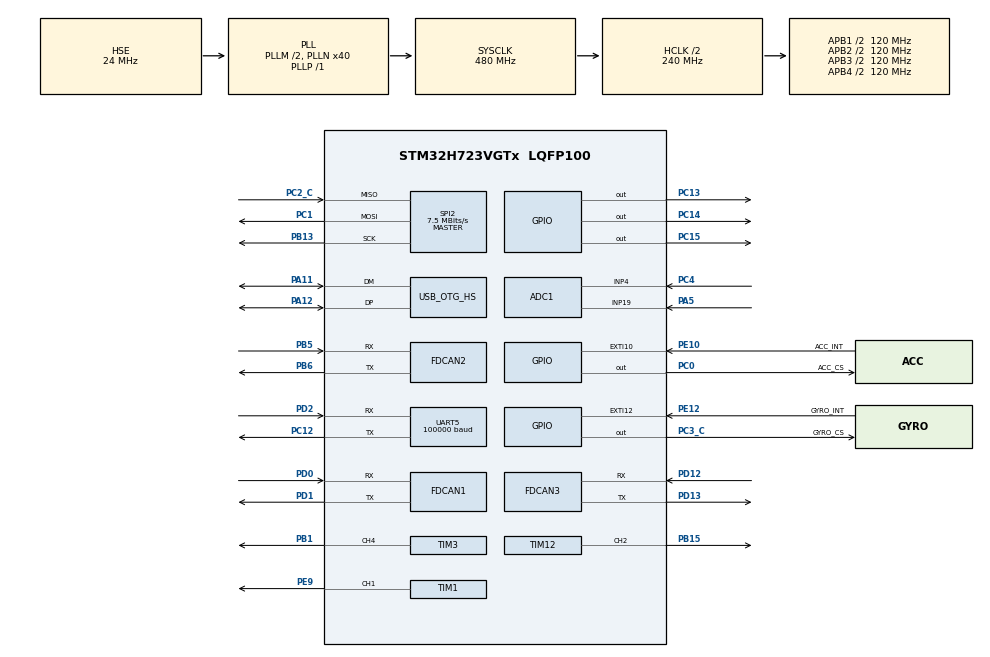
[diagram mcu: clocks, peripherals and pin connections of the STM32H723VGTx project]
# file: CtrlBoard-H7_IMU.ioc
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ADC1.Channel-0\#ChannelRegularConversion=ADC_CHANNEL_4
ADC1.Channel-1\#ChannelRegularConversion=ADC_CHANNEL_19
ADC1.ClockPrescaler=ADC_CLOCK_ASYNC_DIV64
ADC1.ContinuousConvMode=ENABLE
ADC1.ConversionDataManagement=ADC_CONVERSIONDATA_DMA_CIRCULAR
ADC1.NbrOfConversion=2
ADC1.NbrOfConversionFlag=1
ADC1.OffsetNumber-0\#ChannelRegularConversion=ADC_OFFSET_NONE
ADC1.OffsetNumber-1\#ChannelRegularConversion=ADC_OFFSET_NONE
ADC1.OffsetSignedSaturation-0\#ChannelRegularConversion=DISABLE
ADC1.OffsetSignedSaturation-1\#ChannelRegularConversion=DISABLE
ADC1.Rank-0\#ChannelRegularConversion=1
ADC1.Rank-1\#ChannelRegularConversion=2
ADC1.SamplingTime-0\#ChannelRegularConversion=ADC_SAMPLETIME_32CYCLES_5
ADC1.SamplingTime-1\#ChannelRegularConversion=ADC_SAMPLETIME_32CYCLES_5
ADC1.master=1
Dma.ADC1.3.Direction=DMA_PERIPH_TO_MEMORY
Dma.ADC1.3.EventEnable=DISABLE
Dma.ADC1.3.FIFOMode=DMA_FIFOMODE_DISABLE
Dma.ADC1.3.Instance=DMA1_Stream3
Dma.ADC1.3.MemDataAlignment=DMA_MDATAALIGN_HALFWORD
Dma.ADC1.3.MemInc=DMA_MINC_ENABLE
Dma.ADC1.3.Mode=DMA_CIRCULAR
Dma.ADC1.3.PeriphDataAlignment=DMA_PDATAALIGN_HALFWORD
Dma.ADC1.3.PeriphInc=DMA_PINC_DISABLE
Dma.ADC1.3.Polarity=HAL_DMAMUX_REQ_GEN_RISING
Dma.ADC1.3.Priority=DMA_PRIORITY_LOW
Dma.ADC1.3.RequestNumber=1
Dma.ADC1.3.SignalID=NONE
Dma.ADC1.3.SyncEnable=DISABLE
Dma.ADC1.3.SyncPolarity=HAL_DMAMUX_SYNC_NO_EVENT
Dma.ADC1.3.SyncRequestNumber=1
Dma.ADC1.3.SyncSignalID=NONE
Dma.Request0=SPI2_RX
Dma.Request1=SPI2_TX
Dma.Request2=UART5_RX
Dma.Request3=ADC1
Dma.Request4=TIM1_CH1
Dma.SPI2_RX.0.Direction=DMA_PERIPH_TO_MEMORY
Dma.SPI2_RX.0.EventEnable=DISABLE
Dma.SPI2_RX.0.FIFOMode=DMA_FIFOMODE_DISABLE
Dma.SPI2_RX.0.Instance=DMA1_Stream0
Dma.SPI2_RX.0.MemDataAlignment=DMA_MDATAALIGN_BYTE
Dma.SPI2_RX.0.MemInc=DMA_MINC_ENABLE
Dma.SPI2_RX.0.Mode=DMA_NORMAL
Dma.SPI2_RX.0.PeriphDataAlignment=DMA_PDATAALIGN_BYTE
Dma.SPI2_RX.0.PeriphInc=DMA_PINC_DISABLE
Dma.SPI2_RX.0.Polarity=HAL_DMAMUX_REQ_GEN_RISING
Dma.SPI2_RX.0.Priority=DMA_PRIORITY_VERY_HIGH
Dma.SPI2_RX.0.RequestNumber=1
Dma.SPI2_RX.0.SignalID=NONE
Dma.SPI2_RX.0.SyncEnable=DISABLE
Dma.SPI2_RX.0.SyncPolarity=HAL_DMAMUX_SYNC_NO_EVENT
Dma.SPI2_RX.0.SyncRequestNumber=1
Dma.SPI2_RX.0.SyncSignalID=NONE
Dma.SPI2_TX.1.Direction=DMA_MEMORY_TO_PERIPH
Dma.SPI2_TX.1.EventEnable=DISABLE
Dma.SPI2_TX.1.FIFOMode=DMA_FIFOMODE_DISABLE
Dma.SPI2_TX.1.Instance=DMA1_Stream2
Dma.SPI2_TX.1.MemDataAlignment=DMA_MDATAALIGN_BYTE
Dma.SPI2_TX.1.MemInc=DMA_MINC_ENABLE
Dma.SPI2_TX.1.Mode=DMA_NORMAL
Dma.SPI2_TX.1.PeriphDataAlignment=DMA_PDATAALIGN_BYTE
Dma.SPI2_TX.1.PeriphInc=DMA_PINC_DISABLE
Dma.SPI2_TX.1.Polarity=HAL_DMAMUX_REQ_GEN_RISING
Dma.SPI2_TX.1.Priority=DMA_PRIORITY_HIGH
Dma.SPI2_TX.1.RequestNumber=1
Dma.SPI2_TX.1.SignalID=NONE
Dma.SPI2_TX.1.SyncEnable=DISABLE
Dma.SPI2_TX.1.SyncPolarity=HAL_DMAMUX_SYNC_NO_EVENT
Dma.SPI2_TX.1.SyncRequestNumber=1
Dma.SPI2_TX.1.SyncSignalID=NONE
Dma.TIM1_CH1.4.Direction=DMA_PERIPH_TO_MEMORY
Dma.TIM1_CH1.4.EventEnable=DISABLE
Dma.TIM1_CH1.4.FIFOMode=DMA_FIFOMODE_DISABLE
Dma.TIM1_CH1.4.Instance=DMA1_Stream4
Dma.TIM1_CH1.4.MemDataAlignment=DMA_MDATAALIGN_HALFWORD
Dma.TIM1_CH1.4.MemInc=DMA_MINC_ENABLE
Dma.TIM1_CH1.4.Mode=DMA_NORMAL
Dma.TIM1_CH1.4.PeriphDataAlignment=DMA_PDATAALIGN_HALFWORD
Dma.TIM1_CH1.4.PeriphInc=DMA_PINC_DISABLE
Dma.TIM1_CH1.4.Polarity=HAL_DMAMUX_REQ_GEN_RISING
Dma.TIM1_CH1.4.Priority=DMA_PRIORITY_LOW
Dma.TIM1_CH1.4.RequestNumber=1
Dma.TIM1_CH1.4.SignalID=NONE
Dma.TIM1_CH1.4.SyncEnable=DISABLE
Dma.TIM1_CH1.4.SyncPolarity=HAL_DMAMUX_SYNC_NO_EVENT
Dma.TIM1_CH1.4.SyncRequestNumber=1
Dma.TIM1_CH1.4.SyncSignalID=NONE
Dma.UART5_RX.2.Direction=DMA_PERIPH_TO_MEMORY
Dma.UART5_RX.2.EventEnable=DISABLE
Dma.UART5_RX.2.FIFOMode=DMA_FIFOMODE_DISABLE
Dma.UART5_RX.2.Instance=DMA1_Stream1
Dma.UART5_RX.2.MemDataAlignment=DMA_MDATAALIGN_BYTE
Dma.UART5_RX.2.MemInc=DMA_MINC_ENABLE
Dma.UART5_RX.2.Mode=DMA_NORMAL
Dma.UART5_RX.2.PeriphDataAlignment=DMA_PDATAALIGN_BYTE
Dma.UART5_RX.2.PeriphInc=DMA_PINC_DISABLE
Dma.UART5_RX.2.Polarity=HAL_DMAMUX_REQ_GEN_RISING
Dma.UART5_RX.2.Priority=DMA_PRIORITY_LOW
Dma.UART5_RX.2.RequestNumber=1
Dma.UART5_RX.2.SignalID=NONE
Dma.UART5_RX.2.SyncEnable=DISABLE
Dma.UART5_RX.2.SyncPolarity=HAL_DMAMUX_SYNC_NO_EVENT
Dma.UART5_RX.2.SyncRequestNumber=1
Dma.UART5_RX.2.SyncSignalID=NONE
FDCAN1.CalculateBaudRateNominal=1000000
FDCAN1.CalculateTimeBitNominal=1000
FDCAN1.CalculateTimeQuantumNominal=40.0
FDCAN1.DataPrescaler=4
FDCAN1.DataTimeSeg1=19
FDCAN1.DataTimeSeg2=5
FDCAN1.ExtFiltersNbr=5
FDCAN1.NominalPrescaler=4
FDCAN1.NominalTimeSeg1=19
FDCAN1.NominalTimeSeg2=5
FDCAN1.RxFifo0ElmtSize=FDCAN_DATA_BYTES_24
FDCAN1.RxFifo0ElmtsNbr=4
FDCAN1.RxFifo1ElmtSize=FDCAN_DATA_BYTES_24
FDCAN1.StdFiltersNbr=5
FDCAN1.TxElmtSize=FDCAN_DATA_BYTES_24
FDCAN1.TxFifoQueueElmtsNbr=8
FDCAN2.CalculateBaudRateNominal=1000000
FDCAN2.CalculateTimeBitNominal=1000
FDCAN2.CalculateTimeQuantumNominal=50.0
FDCAN2.DataPrescaler=5
FDCAN2.DataTimeSeg1=14
FDCAN2.DataTimeSeg2=5
FDCAN2.ExtFiltersNbr=5
FDCAN2.MessageRAMOffset=854
FDCAN2.NominalPrescaler=5
FDCAN2.NominalTimeSeg1=14
FDCAN2.NominalTimeSeg2=5
FDCAN2.RxFifo1ElmtSize=FDCAN_DATA_BYTES_24
FDCAN2.RxFifo1ElmtsNbr=4
FDCAN2.StdFiltersNbr=5
FDCAN2.TxElmtSize=FDCAN_DATA_BYTES_16
FDCAN2.TxFifoQueueElmtsNbr=4
FDCAN3.CalculateBaudRateNominal=1000000
FDCAN3.CalculateTimeBitNominal=1000
FDCAN3.CalculateTimeQuantumNominal=50.0
FDCAN3.DataPrescaler=5
FDCAN3.DataTimeSeg1=14
FDCAN3.DataTimeSeg2=5
FDCAN3.ExtFiltersNbr=5
FDCAN3.MessageRAMOffset=1709
FDCAN3.NominalPrescaler=5
FDCAN3.NominalTimeSeg1=14
FDCAN3.NominalTimeSeg2=5
FDCAN3.RxFifo0ElmtsNbr=2
FDCAN3.StdFiltersNbr=5
FDCAN3.TxFifoQueueElmtsNbr=3
FREERTOS.MEMORY_ALLOCATION=0
FREERTOS.Tasks01=defaultTask,-3,128,StartDefaultTask,Default,NULL,Dynamic,NULL,NULL;INS_TASK,3,512,INS_Task,Default,NULL,Dynamic,NULL,NULL;CHASSISR_TASK,1,512,ChassisR_Task,Default,NULL,Dynamic,NULL,NULL;CHASSISL_TASK,1,512,ChassisL_Task,Default,NULL,Dynamic,NULL,NULL;OBSERVE_TASK,2,512,OBSERVE_Task,Default,NULL,Dynamic,NULL,NULL;REMOTE_TASK,1,128,Remote_Task,Default,NULL,Dynamic,NULL,NULL;WATCH_TASK,-2,128,Watch_Task,Default,NULL,Dynamic,NULL,NULL
FREERTOS.configENABLE_FPU=1
FREERTOS.configTOTAL_HEAP_SIZE=30720
Mcu.Family=STM32H7
Mcu.Name=STM32H723VGTx
Mcu.Package=LQFP100
NVIC.DMA1_Stream0_IRQn=true\:6\:0\:true\:false\:true\:true\:false\:true\:true
NVIC.DMA1_Stream1_IRQn=true\:5\:0\:false\:false\:true\:true\:false\:true\:true
NVIC.DMA1_Stream2_IRQn=true\:5\:0\:false\:false\:true\:true\:false\:true\:true
NVIC.DMA1_Stream3_IRQn=true\:5\:0\:false\:false\:true\:true\:false\:true\:true
NVIC.DMA1_Stream4_IRQn=true\:5\:0\:false\:false\:true\:true\:false\:true\:true
NVIC.FDCAN1_IT0_IRQn=true\:6\:0\:true\:false\:true\:true\:true\:true\:true
NVIC.FDCAN2_IT0_IRQn=true\:5\:0\:true\:false\:true\:true\:true\:true\:true
NVIC.FDCAN3_IT0_IRQn=true\:5\:0\:false\:false\:true\:true\:true\:true\:true
NVIC.OTG_HS_IRQn=true\:5\:0\:false\:false\:true\:true\:true\:true\:true
NVIC.PriorityGroup=NVIC_PRIORITYGROUP_4
NVIC.SPI2_IRQn=true\:5\:0\:true\:false\:true\:true\:false\:true\:true
NVIC.TIM2_IRQn=true\:15\:0\:false\:false\:true\:false\:false\:true\:true
NVIC.TimeBase=TIM2_IRQn
NVIC.TimeBaseIP=TIM2
NVIC.UART5_IRQn=true\:5\:0\:false\:false\:true\:true\:true\:true\:true
PA11.Mode=Device_Only_FS
PA11.Signal=USB_OTG_HS_DM
PA12.Mode=Device_Only_FS
PA12.Signal=USB_OTG_HS_DP
PA13(JTMS/SWDIO).Mode=Serial_Wire
PA13(JTMS/SWDIO).Signal=DEBUG_JTMS-SWDIO
PA14(JTCK/SWCLK).Mode=Serial_Wire
PA14(JTCK/SWCLK).Signal=DEBUG_JTCK-SWCLK
PA5.Signal=ADCx_INP19
PB1.Signal=S_TIM3_CH4
PB13.GPIO_Speed=GPIO_SPEED_FREQ_VERY_HIGH
PB13.Mode=Full_Duplex_Master
PB13.Signal=SPI2_SCK
PB15.Signal=S_TIM12_CH2
PB5.Mode=FDCAN_Activate
PB5.Signal=FDCAN2_RX
PB6.Mode=FDCAN_Activate
PB6.Signal=FDCAN2_TX
PC0.GPIO_Label=ACC_CS
PC0.GPIO_Speed=GPIO_SPEED_FREQ_VERY_HIGH
PC0.PinState=GPIO_PIN_SET
PC0.Signal=GPIO_Output
PC1.GPIO_Speed=GPIO_SPEED_FREQ_VERY_HIGH
PC1.Mode=Full_Duplex_Master
PC1.Signal=SPI2_MOSI
PC12.Mode=Asynchronous
PC12.Signal=UART5_TX
PC13.Signal=GPIO_Output
PC14-OSC32_IN.Signal=GPIO_Output
PC15-OSC32_OUT.GPIO_PuPd=GPIO_PULLUP
PC15-OSC32_OUT.PinState=GPIO_PIN_SET
PC15-OSC32_OUT.Signal=GPIO_Output
PC2_C.GPIO_Speed=GPIO_SPEED_FREQ_VERY_HIGH
PC2_C.Mode=Full_Duplex_Master
PC2_C.Signal=SPI2_MISO
PC3_C.GPIO_Label=GYRO_CS
PC3_C.GPIO_Speed=GPIO_SPEED_FREQ_VERY_HIGH
PC3_C.PinState=GPIO_PIN_SET
PC3_C.Signal=GPIO_Output
PC4.Signal=ADCx_INP4
PD0.Mode=FDCAN_Activate
PD0.Signal=FDCAN1_RX
PD1.Mode=FDCAN_Activate
PD1.Signal=FDCAN1_TX
PD12.Mode=FDCAN_Activate
PD12.Signal=FDCAN3_RX
PD13.Mode=FDCAN_Activate
PD13.Signal=FDCAN3_TX
PD2.Mode=Asynchronous
PD2.Signal=UART5_RX
PE10.GPIO_Label=ACC_INT
PE10.Signal=GPXTI10
PE12.GPIO_Label=GYRO_INT
PE12.Signal=GPXTI12
PE9.GPIO_Speed=GPIO_SPEED_FREQ_HIGH
PE9.Signal=S_TIM1_CH1
PH0-OSC_IN.Mode=HSE-External-Oscillator
PH0-OSC_IN.Signal=RCC_OSC_IN
PH1-OSC_OUT.Mode=HSE-External-Oscillator
PH1-OSC_OUT.Signal=RCC_OSC_OUT
ProjectManager.HeapSize=0x200
ProjectManager.StackSize=0x800
ProjectManager.TargetToolchain=MDK-ARM V5.27
RCC.ADCFreq_Value=100000000
RCC.APB1Freq_Value=120000000
RCC.APB2Freq_Value=120000000
RCC.APB3Freq_Value=120000000
RCC.APB4Freq_Value=120000000
RCC.CortexFreq_Value=480000000
RCC.D1PPRE=RCC_APB3_DIV2
RCC.D2PPRE1=RCC_APB1_DIV2
RCC.D2PPRE2=RCC_APB2_DIV2
RCC.D3PPRE=RCC_APB4_DIV2
RCC.DIVM1=2
RCC.DIVM2=24
RCC.DIVN1=40
RCC.DIVN2=200
RCC.DIVP1=1
RCC.FDCANCLockSelection=RCC_FDCANCLKSOURCE_PLL2
RCC.HCLKFreq_Value=240000000
RCC.HPRE=RCC_HCLK_DIV2
RCC.HSE_VALUE=24000000
RCC.PLL2FRACN=0
RCC.PLL3FRACN=0
RCC.PLLFRACN=0
RCC.PLLSourceVirtual=RCC_PLLSOURCE_HSE
RCC.SYSCLKFreq_VALUE=480000000
RCC.SYSCLKSource=RCC_SYSCLKSOURCE_PLLCLK
RCC.USBCLockSelection=RCC_USBCLKSOURCE_HSI48
RCC.USBFreq_Value=48000000
SH.ADCx_INP19.0=ADC1_INP19,IN19-Single-Ended
SH.ADCx_INP4.0=ADC1_INP4,IN4-Single-Ended
SH.S_TIM12_CH2.0=TIM12_CH2,PWM Generation2 CH2
SH.S_TIM1_CH1.0=TIM1_CH1,PWM Generation1 CH1
SH.S_TIM3_CH4.0=TIM3_CH4,PWM Generation4 CH4
SPI2.BaudRatePrescaler=SPI_BAUDRATEPRESCALER_32
SPI2.CLKPhase=SPI_PHASE_2EDGE
SPI2.CLKPolarity=SPI_POLARITY_HIGH
SPI2.CalculateBaudRate=7.5 MBits/s
SPI2.DataSize=SPI_DATASIZE_8BIT
SPI2.Direction=SPI_DIRECTION_2LINES
SPI2.Mode=SPI_MODE_MASTER
SPI2.VirtualType=VM_MASTER
TIM1.Channel-PWM\ Generation1\ CH1=TIM_CHANNEL_1
TIM1.Period=300-1
TIM12.Channel-PWM\ Generation2\ CH2=TIM_CHANNEL_2
TIM12.Period=2000-1
TIM12.Prescaler=24-1
TIM12.Pulse-PWM\ Generation2\ CH2=1000
TIM3.AutoReloadPreload=TIM_AUTORELOAD_PRELOAD_ENABLE
TIM3.Channel-PWM\ Generation4\ CH4=TIM_CHANNEL_4
TIM3.Period=10000-1
TIM3.Prescaler=24-1
UART5.BaudRate=100000
UART5.Parity=PARITY_EVEN
UART5.StopBits=UART_STOPBITS_2
UART5.WordLength=WORDLENGTH_9B
USB_DEVICE.CLASS_NAME_HS=CDC
USB_DEVICE.VirtualMode=Cdc
USB_DEVICE.VirtualModeHS=Cdc_HS
USB_OTG_HS.VirtualMode-Device_Only_FS=Device_Only_FS
VP_FREERTOS_VS_CMSIS_V1.Mode=CMSIS_V1
VP_MEMORYMAP_VS_MEMORYMAP.Mode=CurAppReg
VP_SYS_VS_tim2.Mode=TIM2
VP_TIM1_VS_ClockSourceINT.Mode=Internal
VP_USB_DEVICE_VS_USB_DEVICE_CDC_HS.Mode=CDC_HS
board=custom

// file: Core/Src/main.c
/* USER CODE BEGIN Header */
/**
  ******************************************************************************
  * @file           : main.c
  * @brief          : Main program body
  ******************************************************************************
  * @attention
  *
  * Copyright (c) 2024 STMicroelectronics.
  * All rights reserved.
  *
  * This software is licensed under terms that can be found in the LICENSE file
  * in the root directory of this software component.
  * If no LICENSE file comes with this software, it is provided AS-IS.
  *
  ******************************************************************************
  */
/* USER CODE END Header */
#include "main.h"
#include "cmsis_os.h"
#include "adc.h"
#include "dma.h"
#include "fdcan.h"
#include "spi.h"
#include "tim.h"
#include "usart.h"
#include "usb_device.h"
#include "gpio.h"

/* USER CODE BEGIN Includes */
#include "BMI088driver.h"
#include "kalman_filter.h"
#include "mahony_filter.h"
#include "bsp_dwt.h"
#include "BMI088Middleware.h"
#include "can_bsp.h"
#include "uart_bsp.h"
/* USER CODE END Includes */

void SystemClock_Config(void);
void PeriphCommonClock_Config(void);
void MX_FREERTOS_Init(void);

/* USER CODE BEGIN 0 */
uint16_t adc_val[2];

/* USER CODE END 0 */

int main(void)
{

  /* MCU Configuration--------------------------------------------------------*/

  /* Reset of all peripherals, Initializes the Flash interface and the Systick. */
  HAL_Init();

  /* USER CODE BEGIN Init */
//06 01 00 00 00 00 00 00 00 00 00 00 00 00 80 3F
  /* USER CODE END Init */

  /* Configure the system clock */
  SystemClock_Config();

  /* Configure the peripherals common clocks */
  PeriphCommonClock_Config();

  /* Initialize all configured peripherals */
  MX_GPIO_Init();
  MX_DMA_Init();
  MX_SPI2_Init();
  MX_FDCAN1_Init();
  MX_FDCAN2_Init();
  MX_TIM3_Init();
  MX_FDCAN3_Init();
  MX_UART5_Init();
  MX_ADC1_Init();
  MX_TIM12_Init();
  MX_TIM1_Init();
  /* USER CODE BEGIN 2 */
	DWT_Init(480);

    /* BMI088 初始化 */
  while (BMI088_init(&hspi2, 0) != BMI088_NO_ERROR)
	{
	  ;
	}
  Power_OUT1_ON; // 打开 IMU 电源（IMU 初始化电源）
	Power_OUT2_ON;

  FDCAN1_Config(); // FDCAN1（CAN 总线）初始化
	FDCAN2_Config();

	HAL_ADCEx_Calibration_Start(&hadc1, ADC_CALIB_OFFSET, ADC_SINGLE_ENDED);
	HAL_ADC_Start_DMA(&hadc1, (uint32_t *)adc_val,2);
  /* USER CODE END 2 */

  /* Call init function for freertos objects (in cmsis_os2.c) */
  MX_FREERTOS_Init();

  /* Start scheduler */
  osKernelStart();

  /* We should never get here as control is now taken by the scheduler */

  /* Infinite loop */
  while (1)
  {

  }
}

void SystemClock_Config(void)
{
  RCC_OscInitTypeDef RCC_OscInitStruct = {0};
  RCC_ClkInitTypeDef RCC_ClkInitStruct = {0};

  /** Supply configuration update enable
  */
  HAL_PWREx_ConfigSupply(PWR_LDO_SUPPLY);

  /** Configure the main internal regulator output voltage
  */
  __HAL_PWR_VOLTAGESCALING_CONFIG(PWR_REGULATOR_VOLTAGE_SCALE0);

  while(!__HAL_PWR_GET_FLAG(PWR_FLAG_VOSRDY)) {}

  /** Initializes the RCC Oscillators according to the specified parameters
  * in the RCC_OscInitTypeDef structure.
  */
  RCC_OscInitStruct.OscillatorType = RCC_OSCILLATORTYPE_HSI48|RCC_OSCILLATORTYPE_HSE;
  RCC_OscInitStruct.HSEState = RCC_HSE_ON;
  RCC_OscInitStruct.HSI48State = RCC_HSI48_ON;
  RCC_OscInitStruct.PLL.PLLState = RCC_PLL_ON;
  RCC_OscInitStruct.PLL.PLLSource = RCC_PLLSOURCE_HSE;
  RCC_OscInitStruct.PLL.PLLM = 2;
  RCC_OscInitStruct.PLL.PLLN = 40;
  RCC_OscInitStruct.PLL.PLLP = 1;
  RCC_OscInitStruct.PLL.PLLQ = 2;
  RCC_OscInitStruct.PLL.PLLR = 2;
  RCC_OscInitStruct.PLL.PLLRGE = RCC_PLL1VCIRANGE_3;
  RCC_OscInitStruct.PLL.PLLVCOSEL = RCC_PLL1VCOWIDE;
  RCC_OscInitStruct.PLL.PLLFRACN = 0;
  if (HAL_RCC_OscConfig(&RCC_OscInitStruct) != HAL_OK)
  {
    Error_Handler();
  }

  /** Initializes the CPU, AHB and APB buses clocks
  */
  RCC_ClkInitStruct.ClockType = RCC_CLOCKTYPE_HCLK|RCC_CLOCKTYPE_SYSCLK
                              |RCC_CLOCKTYPE_PCLK1|RCC_CLOCKTYPE_PCLK2
                              |RCC_CLOCKTYPE_D3PCLK1|RCC_CLOCKTYPE_D1PCLK1;
  RCC_ClkInitStruct.SYSCLKSource = RCC_SYSCLKSOURCE_PLLCLK;
  RCC_ClkInitStruct.SYSCLKDivider = RCC_SYSCLK_DIV1;
  RCC_ClkInitStruct.AHBCLKDivider = RCC_HCLK_DIV2;
  RCC_ClkInitStruct.APB3CLKDivider = RCC_APB3_DIV2;
  RCC_ClkInitStruct.APB1CLKDivider = RCC_APB1_DIV2;
  RCC_ClkInitStruct.APB2CLKDivider = RCC_APB2_DIV2;
  RCC_ClkInitStruct.APB4CLKDivider = RCC_APB4_DIV2;

  if (HAL_RCC_ClockConfig(&RCC_ClkInitStruct, FLASH_LATENCY_3) != HAL_OK)
  {
    Error_Handler();
  }
}

void PeriphCommonClock_Config(void)
{
  RCC_PeriphCLKInitTypeDef PeriphClkInitStruct = {0};

  /** Initializes the peripherals clock
  */
  PeriphClkInitStruct.PeriphClockSelection = RCC_PERIPHCLK_ADC|RCC_PERIPHCLK_FDCAN;
  PeriphClkInitStruct.PLL2.PLL2M = 24;
  PeriphClkInitStruct.PLL2.PLL2N = 200;
  PeriphClkInitStruct.PLL2.PLL2P = 2;
  PeriphClkInitStruct.PLL2.PLL2Q = 2;
  PeriphClkInitStruct.PLL2.PLL2R = 2;
  PeriphClkInitStruct.PLL2.PLL2RGE = RCC_PLL2VCIRANGE_0;
  PeriphClkInitStruct.PLL2.PLL2VCOSEL = RCC_PLL2VCOMEDIUM;
  PeriphClkInitStruct.PLL2.PLL2FRACN = 0;
  PeriphClkInitStruct.FdcanClockSelection = RCC_FDCANCLKSOURCE_PLL2;
  PeriphClkInitStruct.AdcClockSelection = RCC_ADCCLKSOURCE_PLL2;
  if (HAL_RCCEx_PeriphCLKConfig(&PeriphClkInitStruct) != HAL_OK)
  {
    Error_Handler();
  }
}

void HAL_TIM_PeriodElapsedCallback(TIM_HandleTypeDef *htim)
{
  if (htim->Instance == TIM2)
  {
    HAL_IncTick();
  }
}

void Error_Handler(void)
{
  __disable_irq();
  while (1)
  {
  }
}

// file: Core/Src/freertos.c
/* USER CODE BEGIN Header */
/**
  ******************************************************************************
  * File Name          : freertos.c
  * Description        : Code for freertos applications
  ******************************************************************************
  * @attention
  *
  * Copyright (c) 2024 STMicroelectronics.
  * All rights reserved.
  *
  * This software is licensed under terms that can be found in the LICENSE file
  * in the root directory of this software component.
  * If no LICENSE file comes with this software, it is provided AS-IS.
  *
  ******************************************************************************
  */
/* USER CODE END Header */

#include "FreeRTOS.h"
#include "task.h"
#include "main.h"
#include "cmsis_os.h"

/* USER CODE BEGIN Includes */
#include "INS_task.h"
#include "chassisR_task.h"
#include "chassisL_task.h"
#include "observe_task.h"
#include "ps2_task.h"
#include "remote_task.h"
#include "watch_task.h"
/* USER CODE END Includes */

osThreadId defaultTaskHandle;
osThreadId INS_TASKHandle;
osThreadId CHASSISR_TASKHandle;
osThreadId CHASSISL_TASKHandle;
osThreadId OBSERVE_TASKHandle;
osThreadId REMOTE_TASKHandle;
osThreadId WATCH_TASKHandle;

void StartDefaultTask(void const * argument);
void INS_Task(void const * argument);
void ChassisR_Task(void const * argument);
void ChassisL_Task(void const * argument);
void OBSERVE_Task(void const * argument);
void Remote_Task(void const * argument);
void Watch_Task(void const * argument);

extern void MX_USB_DEVICE_Init(void);
void MX_FREERTOS_Init(void); /* (MISRA C 2004 rule 8.1) */

void MX_FREERTOS_Init(void) {

  /* Create the thread(s) */
  /* definition and creation of defaultTask */
  osThreadDef(defaultTask, StartDefaultTask, osPriorityIdle, 0, 128);
  defaultTaskHandle = osThreadCreate(osThread(defaultTask), NULL);

  /* definition and creation of INS_TASK */
  osThreadDef(INS_TASK, INS_Task, osPriorityRealtime, 0, 512);
  INS_TASKHandle = osThreadCreate(osThread(INS_TASK), NULL);

  /* definition and creation of CHASSISR_TASK */
  osThreadDef(CHASSISR_TASK, ChassisR_Task, osPriorityAboveNormal, 0, 512);
  CHASSISR_TASKHandle = osThreadCreate(osThread(CHASSISR_TASK), NULL);

  /* definition and creation of CHASSISL_TASK */
  osThreadDef(CHASSISL_TASK, ChassisL_Task, osPriorityAboveNormal, 0, 512);
  CHASSISL_TASKHandle = osThreadCreate(osThread(CHASSISL_TASK), NULL);

  /* definition and creation of OBSERVE_TASK */
  osThreadDef(OBSERVE_TASK, OBSERVE_Task, osPriorityHigh, 0, 512);
  OBSERVE_TASKHandle = osThreadCreate(osThread(OBSERVE_TASK), NULL);

  /* definition and creation of REMOTE_TASK */
  osThreadDef(REMOTE_TASK, Remote_Task, osPriorityAboveNormal, 0, 128);
  REMOTE_TASKHandle = osThreadCreate(osThread(REMOTE_TASK), NULL);

  /* definition and creation of WATCH_TASK */
  osThreadDef(WATCH_TASK, Watch_Task, osPriorityLow, 0, 128);
  WATCH_TASKHandle = osThreadCreate(osThread(WATCH_TASK), NULL);

}

void StartDefaultTask(void const * argument)
{
  /* init code for USB_DEVICE */
  MX_USB_DEVICE_Init();
  /* USER CODE BEGIN StartDefaultTask */
  /* Infinite loop */
  for(;;)
  {
    osDelay(1000);
  }
  /* USER CODE END StartDefaultTask */
}

void INS_Task(void const * argument)
{
  /* USER CODE BEGIN INS_Task */

  /* Infinite loop */
  for(;;)
  {
    INS_task();
  }
  /* USER CODE END INS_Task */
}

void ChassisR_Task(void const * argument)
{
  /* USER CODE BEGIN ChassisR_Task */
  /* Infinite loop */
  for(;;)
  {
    ChassisR_task();
  }
  /* USER CODE END ChassisR_Task */
}

void ChassisL_Task(void const * argument)
{
  /* USER CODE BEGIN ChassisL_Task */
  /* Infinite loop */
  for(;;)
  {
    ChassisL_task();
  }
  /* USER CODE END ChassisL_Task */
}

void OBSERVE_Task(void const * argument)
{
  /* USER CODE BEGIN OBSERVE_Task */
  /* Infinite loop */
  for(;;)
  {
    Observe_task();
  }
  /* USER CODE END OBSERVE_Task */
}

void Remote_Task(void const * argument)
{
  /* USER CODE BEGIN Remote_Task */
  /* Infinite loop */
  for(;;)
  {
    Remote_task();
  }
  /* USER CODE END Remote_Task */
}

void Watch_Task(void const * argument)
{
  /* USER CODE BEGIN Watch_Task */
  /* Infinite loop */
  for(;;)
  {
    Watch_task();
  }
  /* USER CODE END Watch_Task */
}
